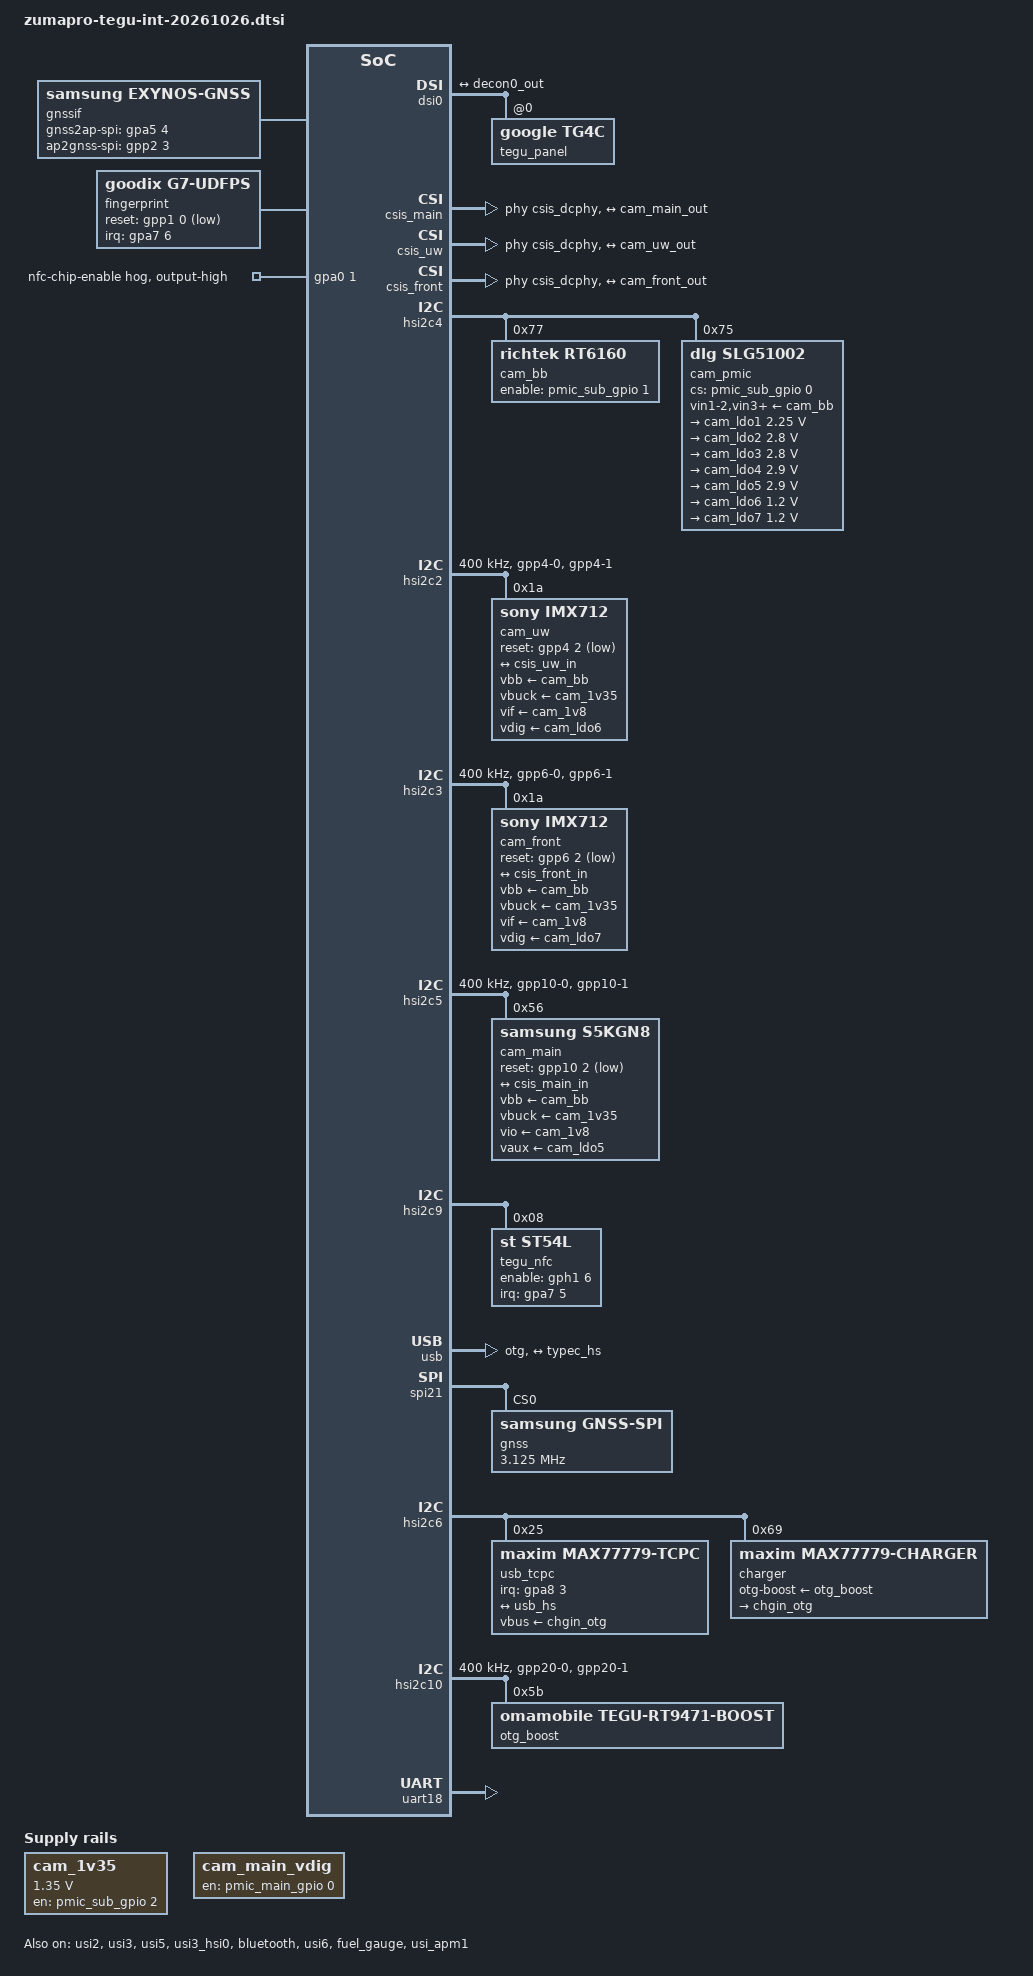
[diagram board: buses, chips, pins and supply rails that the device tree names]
// SPDX-License-Identifier: GPL-2.0-only
/*
 * Pixel 9a: what the runtime overlays of 2026-10-26 proved, as base
 * device tree (docs/HANDOFF.md, device/tegu/NOTES.md):
 *  - the alive EINT banks gpa7 and gpa8 with their per-pin GIC SPIs (from
 *    stock; the NFC interrupt is gpa7-5, the IF-PMIC's on gpa8);
 *  - cpufreq-dt on the ACPM DVFS clocks (tegu-acpm-clk binds the
 *    zumapro-acpm-clk device; cell = DVFS domain) with the firmware's
 *    fvmap levels, mid and big clusters capped (the X4 at 3105 MHz reached
 *    105 C in 4 s under an eight-core load), CPU capacities from stock;
 *  - the CPU and GPU thermal zones on the ACPM TMU (tegu-acpm-thermal);
 *  - DSIM0 for gs-dsim-cmd with the hand-over panel (backlight only);
 *  - the ST NFC controller on hsi2c9 for st-nci;
 *  - the HSI2 pinctrl block (gph3: PCIe1's PERST and WLAN_EN; stock has it
 *    enabled), which cannot be enabled at runtime: the Samsung pinctrl
 *    driver's per-SoC tables are __initconst and a late probe oopsed.
 * Not here: cpuidle states (a separate, riskier gate), the GPU's own OPP
 * table, panel sleep.
 */

#include <dt-bindings/usb/pd.h>
#include <dt-bindings/media/video-interfaces.h>

&gpa7 {
	interrupt-controller;
	#interrupt-cells = <2>;
	interrupts = <GIC_SPI 36 IRQ_TYPE_LEVEL_HIGH>,
		     <GIC_SPI 37 IRQ_TYPE_LEVEL_HIGH>,
		     <GIC_SPI 38 IRQ_TYPE_LEVEL_HIGH>,
		     <GIC_SPI 39 IRQ_TYPE_LEVEL_HIGH>,
		     <GIC_SPI 40 IRQ_TYPE_LEVEL_HIGH>,
		     <GIC_SPI 41 IRQ_TYPE_LEVEL_HIGH>,
		     <GIC_SPI 42 IRQ_TYPE_LEVEL_HIGH>,
		     <GIC_SPI 43 IRQ_TYPE_LEVEL_HIGH>;
};

&gpa8 {
	interrupt-controller;
	#interrupt-cells = <2>;
	interrupts = <GIC_SPI 44 IRQ_TYPE_LEVEL_HIGH>,
		     <GIC_SPI 45 IRQ_TYPE_LEVEL_HIGH>,
		     <GIC_SPI 46 IRQ_TYPE_LEVEL_HIGH>,
		     <GIC_SPI 47 IRQ_TYPE_LEVEL_HIGH>;
};

/ {

	cpucl0_opp: opp-table-cpucl0 {
		compatible = "operating-points-v2";
		opp-shared;

		opp-324000000 {
			opp-hz = /bits/ 64 <324000000>;
		};

		opp-610000000 {
			opp-hz = /bits/ 64 <610000000>;
		};

		opp-820000000 {
			opp-hz = /bits/ 64 <820000000>;
		};

		opp-955000000 {
			opp-hz = /bits/ 64 <955000000>;
		};

		opp-1098000000 {
			opp-hz = /bits/ 64 <1098000000>;
		};

		opp-1197000000 {
			opp-hz = /bits/ 64 <1197000000>;
		};

		opp-1328000000 {
			opp-hz = /bits/ 64 <1328000000>;
		};

		opp-1425000000 {
			opp-hz = /bits/ 64 <1425000000>;
		};

		opp-1548000000 {
			opp-hz = /bits/ 64 <1548000000>;
		};

		opp-1696000000 {
			opp-hz = /bits/ 64 <1696000000>;
		};

		opp-1849000000 {
			opp-hz = /bits/ 64 <1849000000>;
		};

		opp-1950000000 {
			opp-hz = /bits/ 64 <1950000000>;
		};

		opp-1951000000 {
			opp-hz = /bits/ 64 <1951000000>;
		};

		opp-1952000000 {
			opp-hz = /bits/ 64 <1952000000>;
		};

		opp-1953000000 {
			opp-hz = /bits/ 64 <1953000000>;
		};

		opp-1954000000 {
			opp-hz = /bits/ 64 <1954000000>;
		};
	};

	cpucl1_opp: opp-table-cpucl1 {
		compatible = "operating-points-v2";
		opp-shared;

		opp-357000000 {
			opp-hz = /bits/ 64 <357000000>;
		};

		opp-578000000 {
			opp-hz = /bits/ 64 <578000000>;
		};

		opp-648000000 {
			opp-hz = /bits/ 64 <648000000>;
		};

		opp-787000000 {
			opp-hz = /bits/ 64 <787000000>;
		};

		opp-910000000 {
			opp-hz = /bits/ 64 <910000000>;
		};

		opp-1065000000 {
			opp-hz = /bits/ 64 <1065000000>;
		};

		opp-1221000000 {
			opp-hz = /bits/ 64 <1221000000>;
		};

		opp-1328000000 {
			opp-hz = /bits/ 64 <1328000000>;
		};

		opp-1418000000 {
			opp-hz = /bits/ 64 <1418000000>;
		};

		opp-1549000000 {
			opp-hz = /bits/ 64 <1549000000>;
		};

		opp-1795000000 {
			opp-hz = /bits/ 64 <1795000000>;
		};

		opp-1945000000 {
			opp-hz = /bits/ 64 <1945000000>;
		};

		opp-2130000000 {
			opp-hz = /bits/ 64 <2130000000>;
		};

		opp-2245000000 {
			opp-hz = /bits/ 64 <2245000000>;
		};

		opp-2367000000 {
			opp-hz = /bits/ 64 <2367000000>;
		};
		/* opp-2450000000: above the thermal-headroom cap */
		/* opp-2600000000: above the thermal-headroom cap */
	};

	cpucl2_opp: opp-table-cpucl2 {
		compatible = "operating-points-v2";
		opp-shared;

		opp-700000000 {
			opp-hz = /bits/ 64 <700000000>;
		};

		opp-1164000000 {
			opp-hz = /bits/ 64 <1164000000>;
		};

		opp-1396000000 {
			opp-hz = /bits/ 64 <1396000000>;
		};

		opp-1557000000 {
			opp-hz = /bits/ 64 <1557000000>;
		};

		opp-1745000000 {
			opp-hz = /bits/ 64 <1745000000>;
		};

		opp-1885000000 {
			opp-hz = /bits/ 64 <1885000000>;
		};

		opp-1999000000 {
			opp-hz = /bits/ 64 <1999000000>;
		};

		opp-2147000000 {
			opp-hz = /bits/ 64 <2147000000>;
		};

		opp-2294000000 {
			opp-hz = /bits/ 64 <2294000000>;
		};

		opp-2363000000 {
			opp-hz = /bits/ 64 <2363000000>;
		};

		opp-2499000000 {
			opp-hz = /bits/ 64 <2499000000>;
		};

		opp-2687000000 {
			opp-hz = /bits/ 64 <2687000000>;
		};
		/* opp-2802000000: above the thermal-headroom cap */
		/* opp-2914000000: above the thermal-headroom cap */
		/* opp-2943000000: above the thermal-headroom cap */
		/* opp-2970000000: above the thermal-headroom cap */
		/* opp-3015000000: above the thermal-headroom cap */
		/* opp-3105000000: above the thermal-headroom cap */
	};

	thermal-zones {
		big-thermal {
			polling-delay-passive = <250>;
			polling-delay = <1000>;
			thermal-sensors = <&tegu_tmu 0>;

			trips {
				big_alert: big-alert {
					temperature = <80000>;
					hysteresis = <5000>;
					type = "passive";
				};

				big_hot: big-hot {
					temperature = <95000>;
					hysteresis = <10000>;
					type = "passive";
				};

				big_crit: big-crit {
					temperature = <105000>;
					hysteresis = <2000>;
					type = "critical";
				};
			};

			cooling-maps {
				map0 {
					trip = <&big_alert>;
					cooling-device = <&cpu7 0xffffffff 0xffffffff>;
				};

				map1 {
					trip = <&big_hot>;
					cooling-device = <&cpu7 11 0xffffffff>;
				};
			};
		};

		mid-thermal {
			polling-delay-passive = <250>;
			polling-delay = <1000>;
			thermal-sensors = <&tegu_tmu 1>;

			trips {
				mid_alert: mid-alert {
					temperature = <80000>;
					hysteresis = <5000>;
					type = "passive";
				};

				mid_hot: mid-hot {
					temperature = <95000>;
					hysteresis = <10000>;
					type = "passive";
				};

				mid_crit: mid-crit {
					temperature = <105000>;
					hysteresis = <2000>;
					type = "critical";
				};
			};

			cooling-maps {
				map0 {
					trip = <&mid_alert>;
					cooling-device = <&cpu4 0xffffffff 0xffffffff>;
				};

				map1 {
					trip = <&mid_hot>;
					cooling-device = <&cpu4 14 0xffffffff>;
				};
			};
		};

		little-thermal {
			polling-delay-passive = <250>;
			polling-delay = <1000>;
			thermal-sensors = <&tegu_tmu 2>;

			trips {
				little_alert: little-alert {
					temperature = <80000>;
					hysteresis = <5000>;
					type = "passive";
				};

				little_hot: little-hot {
					temperature = <95000>;
					hysteresis = <10000>;
					type = "passive";
				};

				little_crit: little-crit {
					temperature = <105000>;
					hysteresis = <2000>;
					type = "critical";
				};
			};

			cooling-maps {
				map0 {
					trip = <&little_alert>;
					cooling-device = <&cpu0 0xffffffff 0xffffffff>;
				};

				map1 {
					trip = <&little_hot>;
					cooling-device = <&cpu0 15 0xffffffff>;
				};
			};
		};
		gpu-thermal {
			polling-delay-passive = <1000>;
			polling-delay = <2000>;
			thermal-sensors = <&tegu_tmu 3>;

			trips {
				gpu_alert: gpu-alert {
					temperature = <85000>;
					hysteresis = <5000>;
					type = "passive";
				};

				gpu_crit: gpu-crit {
					temperature = <105000>;
					hysteresis = <2000>;
					type = "critical";
				};
			};

			/*
			 * panthor's devfreq cooling device: step_wise walks the
			 * GPU down its OPPs above 85 C, so the levels above
			 * 649 MHz (tegu-gpu-dvfs.dtso) have a throttle.
			 */
			cooling-maps {
				map0 {
					trip = <&gpu_alert>;
					cooling-device = <&gpu 0xffffffff 0xffffffff>;
				};
			};
		};
	};
};

&cpu0 {
	capacity-dmips-mhz = <193>;
	dynamic-power-coefficient = <70>;
	#cooling-cells = <2>;
	clocks = <&acpm_ipc 2>;
	operating-points-v2 = <&cpucl0_opp>;
};

&cpu1 {
	capacity-dmips-mhz = <193>;
	dynamic-power-coefficient = <70>;
	#cooling-cells = <2>;
	clocks = <&acpm_ipc 2>;
	operating-points-v2 = <&cpucl0_opp>;
};

&cpu2 {
	capacity-dmips-mhz = <193>;
	dynamic-power-coefficient = <70>;
	#cooling-cells = <2>;
	clocks = <&acpm_ipc 2>;
	operating-points-v2 = <&cpucl0_opp>;
};

&cpu3 {
	capacity-dmips-mhz = <193>;
	dynamic-power-coefficient = <70>;
	#cooling-cells = <2>;
	clocks = <&acpm_ipc 2>;
	operating-points-v2 = <&cpucl0_opp>;
};

&cpu4 {
	capacity-dmips-mhz = <927>;
	dynamic-power-coefficient = <513>;
	#cooling-cells = <2>;
	clocks = <&acpm_ipc 3>;
	operating-points-v2 = <&cpucl1_opp>;
};

&cpu5 {
	capacity-dmips-mhz = <927>;
	dynamic-power-coefficient = <513>;
	#cooling-cells = <2>;
	clocks = <&acpm_ipc 3>;
	operating-points-v2 = <&cpucl1_opp>;
};

&cpu6 {
	capacity-dmips-mhz = <927>;
	dynamic-power-coefficient = <513>;
	#cooling-cells = <2>;
	clocks = <&acpm_ipc 3>;
	operating-points-v2 = <&cpucl1_opp>;
};

&cpu7 {
	capacity-dmips-mhz = <1024>;
	dynamic-power-coefficient = <757>;
	#cooling-cells = <2>;
	clocks = <&acpm_ipc 4>;
	operating-points-v2 = <&cpucl2_opp>;
};

&soc {
	dsi0: dsi@19440000 {
		compatible = "google,gs201-dsim";
		reg = <0x0 0x19440000 0x300>,
		      <0x0 0x19460100 0x700>,
		      <0x0 0x19460000 0x100>;
		reg-names = "dsi", "dphy", "dphy-extra";
		/* stock drmdsim@19440000: GIC SPI 252; gs-dsim-cmd does not use it */
		interrupts = <GIC_SPI 252 IRQ_TYPE_LEVEL_HIGH>;
		#address-cells = <1>;
		#size-cells = <0>;
		status = "okay";

		tegu_panel: panel@0 {
			compatible = "google,tg4c";
			reg = <0>;
		};

		port {
			dsi0_in: endpoint {
				remote-endpoint = <&decon0_out>;
			};
		};
	};
};

/*
 * DECON's output is DSIM0, so gs-decon can switch the link and the panel
 * between 60 and 120 Hz. No MIF/DISP floor clocks: the ACPM clock driver
 * loads late, and the bootloader leaves MIF (2028 MHz) and DISP (400 MHz)
 * above the 120 Hz floors.
 */
&decon0 {
	port {
		decon0_out: endpoint {
			remote-endpoint = <&dsi0_in>;
		};
	};
};

/*
 * The sub PMIC's ten GPIOs (ACPM access type 0x0c). Pins 0 and 1 are the
 * camera PMIC's chip select and the camera buck-boost's enable in stock's
 * board overlay (slg51002 dlg,cs-gpios, rt6160 enable-gpios); nothing claims
 * them yet, so the block only reports their state.
 */
&pmic_sub {
	pmic_sub_gpio: gpio {
		compatible = "samsung,s2mpg15-gpio";
		gpio-controller;
		#gpio-cells = <2>;
	};
};

/*
 * Camera power, CAM0 (survey: device/tegu/CAMERA-PLAN.md): stock's RT6160
 * buck-boost (PP3200_CAM_BB, enable on the sub PMIC's GPIO 1) feeds the
 * SLG51002 camera PMIC (chip select on its GPIO 0), whose eight LDOs feed the
 * sensors. Voltages as stock's board overlay. No consumers and no
 * always-on: the drivers probe and read their IDs, and every LDO stays off.
 */
&hsi2c4 {
	cam_bb: regulator@77 {
		compatible = "richtek,rt6160";
		reg = <0x77>;
		enable-gpios = <&pmic_sub_gpio 1 GPIO_ACTIVE_HIGH>;
		regulator-name = "pp3200-cam-bb";
		regulator-min-microvolt = <3200000>;
		regulator-max-microvolt = <3200000>;
		regulator-enable-ramp-delay = <2000>;
	};

	cam_pmic: pmic@75 {
		compatible = "dlg,slg51002";
		reg = <0x75>;
		dlg,cs-gpios = <&pmic_sub_gpio 0 GPIO_ACTIVE_HIGH>;
		vin1-2-supply = <&cam_bb>;
		vin3-supply = <&cam_bb>;
		vin4-supply = <&cam_bb>;
		vin5-supply = <&cam_bb>;

		regulators {
			cam_ldo1: ldo1 {
				regulator-name = "cam-ldo1";
				regulator-min-microvolt = <2250000>;
				regulator-max-microvolt = <2250000>;
			};
			cam_ldo2: ldo2 {
				regulator-name = "cam-ldo2";
				regulator-min-microvolt = <2800000>;
				regulator-max-microvolt = <2800000>;
			};
			cam_ldo3: ldo3 {
				regulator-name = "cam-ldo3";
				regulator-min-microvolt = <2800000>;
				regulator-max-microvolt = <2800000>;
			};
			cam_ldo4: ldo4 {
				regulator-name = "cam-ldo4";
				regulator-min-microvolt = <2900000>;
				regulator-max-microvolt = <2900000>;
			};
			cam_ldo5: ldo5 {
				regulator-name = "cam-ldo5";
				regulator-min-microvolt = <2900000>;
				regulator-max-microvolt = <2900000>;
			};
			cam_ldo6: ldo6 {
				regulator-name = "cam-ldo6";
				regulator-min-microvolt = <1200000>;
				regulator-max-microvolt = <1200000>;
			};
			cam_ldo7: ldo7 {
				regulator-name = "cam-ldo7";
				regulator-min-microvolt = <1200000>;
				regulator-max-microvolt = <1200000>;
			};
		};
	};
};

/*
 * Camera, CAM1 prerequisites: the ultrawide's I2C (hsi2c_2 on USI2, pins
 * gpp4-0/1 as stock), the sensors' shared 1.8 V (sub PMIC LDO12) and the
 * 1.35 V camera rail (a fixed regulator on the sub PMIC's GPIO 2, as stock's
 * PP1350_CAM). No consumers: everything stays off until a sensor is powered.
 */
&pinctrl_peric0 {
	hsi2c2_bus: hsi2c2-bus-pins {
		samsung,pins = "gpp4-0", "gpp4-1";
		samsung,pin-function = <EXYNOS_PIN_FUNC_3>;
		samsung,pin-pud = <EXYNOS_PIN_PULL_NONE>;
		samsung,pin-drv = <0>;
	};
};

&usi2 {
	status = "okay";
};

&hsi2c2 {
	pinctrl-names = "default";
	pinctrl-0 = <&hsi2c2_bus>;
	clock-frequency = <400000>;
	status = "okay";
};

&pmic_sub {
	regulators {
		cam_1v8: ldo12s {
			regulator-name = "cam-1v8";
		};
	};
};

/ {
	cam_1v35: regulator-cam-1v35 {
		compatible = "regulator-fixed";
		regulator-name = "pp1350-cam";
		regulator-min-microvolt = <1350000>;
		regulator-max-microvolt = <1350000>;
		gpio = <&pmic_sub_gpio 2 GPIO_ACTIVE_HIGH>;
		enable-active-high;
		startup-delay-us = <2000>;
	};
};

/*
 * CAM1 (passed: model ID 0x0712, an IMX712): the ultrawide sensor (stock
 * sensor-leshen-uw, 0x1a on hsi2c_2) in stock's LWIS order: pp3200_bb,
 * pp1350, s2mpg15_ldo12, ldo3, ldo6, reset, mclk_on.
 * Master clock: CMU_TOP CIS_CLK0 from OSCCLK (24.576 MHz; stock asks
 * 24 MHz), out on gpp3-0 (stock's sensor-mclk1).
 */
&pinctrl_peric0 {
	cam_mclk_on: cam-mclk-on-pins {
		samsung,pins = "gpp3-0";
		samsung,pin-function = <EXYNOS_PIN_FUNC_2>;
		samsung,pin-pud = <EXYNOS_PIN_PULL_NONE>;
		samsung,pin-drv = <1>;
	};

	cam_mclk_off: cam-mclk-off-pins {
		samsung,pins = "gpp3-0";
		samsung,pin-function = <EXYNOS_PIN_FUNC_OUTPUT>;
		samsung,pin-pud = <EXYNOS_PIN_PULL_DOWN>;
		samsung,pin-drv = <1>;
	};
};

/* The ultrawide, a Sony IMX712, on the imx386 driver (CAM2a). No receiver yet: the endpoint has no remote. */
&hsi2c2 {
	cam_uw: camera@1a {
		compatible = "sony,imx712";
		reg = <0x1a>;
		clocks = <&cmu_top CLK_DOUT_CIS_CLK0>;
		assigned-clocks = <&cmu_top CLK_MOUT_CIS_CLK0>, <&cmu_top CLK_DOUT_CIS_CLK0>;
		assigned-clock-parents = <&oscclk>, <0>;
		assigned-clock-rates = <0>, <24576000>;
		pinctrl-names = "default";
		pinctrl-0 = <&cam_mclk_on>;
		/* high runs the sensor (stock's LWIS "reset" step sets 1) */
		reset-gpios = <&gpp4 2 GPIO_ACTIVE_LOW>;
		/* stock's order: PP3200_BB, PP1350, S2MPG15 LDO12, LDO3, LDO6 */
		vbb-supply = <&cam_bb>;
		vbuck-supply = <&cam_1v35>;
		vif-supply = <&cam_1v8>;
		vdig-supply = <&cam_ldo6>;
		vana-supply = <&cam_ldo3>;
		firmware-name = "omamobile/camera/imx712-uw.bin";
		orientation = <1>;	/* back */
		status = "okay";

		port {
			cam_uw_out: endpoint {
				data-lanes = <1 2 3 4>;
				link-frequencies = /bits/ 64 <552960000 479232000>;
			};
		};
	};
};

/*
 * CAM-F: the front camera (stock sensor-leshen, 0x1a on hsi2c_3, pins gpp6-0/1)
 * powered once by the ID probe in stock's order: pp3200_bb, pp1350,
 * s2mpg15_ldo12, ldo2, ldo7, reset (gpp6-2), mclk_on. Master clock: CMU_TOP
 * CIS_CLK1 from OSCCLK, out on gpp5-0 (sensor-mclk2). Pins, pulls and the
 * reset line as Google's GPL zuma-tegu-camera.dtsi and zumapro-pinctrl.dtsi:
 * this bus has no external pull-ups, stock turns the internal ones on.
 */
&pinctrl_peric0 {
	hsi2c3_bus: hsi2c3-bus-pins {
		samsung,pins = "gpp6-0", "gpp6-1";
		samsung,pin-function = <EXYNOS_PIN_FUNC_3>;
		samsung,pin-pud = <EXYNOS_PIN_PULL_UP>;
		samsung,pin-drv = <0>;
	};

	cam_front_mclk_on: cam-front-mclk-on-pins {
		samsung,pins = "gpp5-0";
		samsung,pin-function = <EXYNOS_PIN_FUNC_2>;
		samsung,pin-pud = <EXYNOS_PIN_PULL_NONE>;
		samsung,pin-drv = <1>;
	};

	cam_front_mclk_off: cam-front-mclk-off-pins {
		samsung,pins = "gpp5-0";
		samsung,pin-function = <EXYNOS_PIN_FUNC_OUTPUT>;
		samsung,pin-pud = <EXYNOS_PIN_PULL_DOWN>;
		samsung,pin-drv = <1>;
	};
};

&usi3 {
	status = "okay";
};

&hsi2c3 {
	pinctrl-names = "default";
	pinctrl-0 = <&hsi2c3_bus>;
	clock-frequency = <400000>;
	status = "okay";
};

/* The front camera, a second Sony IMX712 (CAM-F: model 0x0712), on the imx386 driver. */
&hsi2c3 {
	cam_front: camera@1a {
		compatible = "sony,imx712";
		reg = <0x1a>;
		clocks = <&cmu_top CLK_DOUT_CIS_CLK1>;
		assigned-clocks = <&cmu_top CLK_MOUT_CIS_CLK1>, <&cmu_top CLK_DOUT_CIS_CLK1>;
		assigned-clock-parents = <&oscclk>, <0>;
		assigned-clock-rates = <0>, <24576000>;
		pinctrl-names = "default";
		pinctrl-0 = <&cam_front_mclk_on>;
		/* high runs the sensor (stock's LWIS "reset" step sets 1) */
		reset-gpios = <&gpp6 2 GPIO_ACTIVE_LOW>;
		/* stock's order: PP3200_BB, PP1350, S2MPG15 LDO12, LDO2, LDO7 */
		vbb-supply = <&cam_bb>;
		vbuck-supply = <&cam_1v35>;
		vif-supply = <&cam_1v8>;
		vdig-supply = <&cam_ldo7>;
		vana-supply = <&cam_ldo2>;
		/* the HAL has one IMX712 driver, so the ultrawide's mode list serves */
		firmware-name = "omamobile/camera/imx712-uw.bin";
		orientation = <0>;	/* front */
		status = "okay";

		port {
			cam_front_out: endpoint {
				remote-endpoint = <&csis_front_in>;
				data-lanes = <1 2 3 4>;
				link-frequencies = /bits/ 64 <552960000 479232000>;
			};
		};
	};
};

/*
 * CAM-M: the main camera (stock sensor-barghest, 0x56 on hsi2c_5, pins
 * gpp10-0/1) powered once by the ID probe in stock's order: pp3200_bb,
 * pp1350, s2mpg15_ldo12, ldo5, ldo4, ldo1, vdig_enable (main PMIC GPIO 0),
 * reset (gpp10-2), mclk_on. Master clock: CMU_TOP CIS_CLK3 (stock asks
 * 26 MHz; OSCCLK gives 24.576 MHz, enough to answer on I2C), out on gpp9-0
 * (sensor-mclk4). Bus pins pulled up internally, as stock.
 */
&pmic_main {
	pmic_main_gpio: gpio {
		compatible = "samsung,s2mpg14-gpio";
		gpio-controller;
		#gpio-cells = <2>;
	};
};

&pinctrl_peric0 {
	hsi2c5_bus: hsi2c5-bus-pins {
		samsung,pins = "gpp10-0", "gpp10-1";
		samsung,pin-function = <EXYNOS_PIN_FUNC_3>;
		samsung,pin-pud = <EXYNOS_PIN_PULL_UP>;
		samsung,pin-drv = <0>;
	};

	cam_main_mclk_on: cam-main-mclk-on-pins {
		samsung,pins = "gpp9-0";
		samsung,pin-function = <EXYNOS_PIN_FUNC_2>;
		samsung,pin-pud = <EXYNOS_PIN_PULL_NONE>;
		samsung,pin-drv = <1>;
	};

	cam_main_mclk_off: cam-main-mclk-off-pins {
		samsung,pins = "gpp9-0";
		samsung,pin-function = <EXYNOS_PIN_FUNC_OUTPUT>;
		samsung,pin-pud = <EXYNOS_PIN_PULL_DOWN>;
		samsung,pin-drv = <1>;
	};
};

&usi5 {
	status = "okay";
};

&hsi2c5 {
	pinctrl-names = "default";
	pinctrl-0 = <&hsi2c5_bus>;
	clock-frequency = <400000>;
	status = "okay";
};

/ {
	/* the main camera's digital supply: a switch on the main PMIC's GPIO 0 */
	cam_main_vdig: regulator-cam-main-vdig {
		compatible = "regulator-fixed";
		regulator-name = "cam-main-vdig";
		gpio = <&pmic_main_gpio 0 GPIO_ACTIVE_HIGH>;
		enable-active-high;
	};
};

/*
 * The main camera, a Samsung GN8 (model 0x08e8), on the s5kgn1 driver: three
 * C-PHY trios into CSIS link 0.
 */
&hsi2c5 {
	cam_main: camera@56 {
		compatible = "samsung,s5kgn8";
		reg = <0x56>;
		clocks = <&cmu_top CLK_DOUT_CIS_CLK3>;
		assigned-clocks = <&cmu_top CLK_MOUT_CIS_CLK3>, <&cmu_top CLK_DOUT_CIS_CLK3>;
		assigned-clock-parents = <&oscclk>, <0>;
		assigned-clock-rates = <0>, <24576000>;
		pinctrl-names = "default";
		pinctrl-0 = <&cam_main_mclk_on>;
		reset-gpios = <&gpp10 2 GPIO_ACTIVE_LOW>;
		/* stock's order: PP3200_BB, PP1350, S2MPG15 LDO12, LDO5, LDO4, LDO1, VDIG */
		vbb-supply = <&cam_bb>;
		vbuck-supply = <&cam_1v35>;
		vio-supply = <&cam_1v8>;
		vaux-supply = <&cam_ldo5>;
		vaux2-supply = <&cam_ldo4>;
		vana-supply = <&cam_ldo1>;
		vdig-supply = <&cam_main_vdig>;
		firmware-name = "omamobile/camera/s5kgn8-main.bin";
		/*
		 * Its lines burst at over 2 GB/s on three trios; the ultrawide's
		 * 550 MB/s lines land cleanly (cheetah's receiver lost lines above
		 * about 400 MB/s, CAMERA-PLAN CAM-M.5l there).
		 */
		samsung,max-line-throughput = <500>;
		orientation = <1>;	/* back */
		status = "okay";

		port {
			cam_main_out: endpoint {
				remote-endpoint = <&csis_main_in>;
				bus-type = <MEDIA_BUS_TYPE_CSI2_CPHY>;
				data-lanes = <1 2 3>;
				link-frequencies = /bits/ 64 <1370112000>;
			};
		};
	};
};

/* The main camera's receiver: link 0, three C-PHY trios on slave 0, SPI 467 (ctx0). */
&soc {
	csis_main: csis@1c040000 {
		compatible = "google,zumapro-csis";
		reg = <0x0 0x1c040000 0x1000>, <0x0 0x1c320000 0x2000>;
		reg-names = "link", "core";
		interrupts = <GIC_SPI 467 IRQ_TYPE_LEVEL_HIGH>,
			     <GIC_SPI 479 IRQ_TYPE_LEVEL_HIGH>;
		interrupt-names = "link", "core";
		phys = <&csis_dcphy 0>;
		google,csis-link = <0>;
		/* INT DVFS (ACPM domain 1), the ISP-FE NOC clock's rail, then the clock */
		clocks = <&acpm_ipc 1>, <&cmu_top CLK_DOUT_ISPFE_NOC>;
		clock-names = "int", "fe";
		/* without them the link decodes frame starts and nothing else */
		google,lrte-packet-delimiters;

		port {
			csis_main_in: endpoint {
				remote-endpoint = <&cam_main_out>;
				bus-type = <MEDIA_BUS_TYPE_CSI2_CPHY>;
				data-lanes = <1 2 3>;
			};
		};
	};
};

/*
 * CAM2b: the camera receiver for the ultrawide, link-only (no DMA yet).
 * ISP-FE block (power domain on from ABL, CMU_ISPFE gates on): the DC-PHY
 * slaves at 0x1c100000 (bias +0x1000), their reset bits at isp-fe-sysreg
 * +0x500 (bit n for slave n), PMU isolation 0x3ebc as gs201. The ultrawide
 * is link 1 (four D-PHY lanes on slave 1; the camera HAL's module table),
 * its link registers at 0x1c050000 and interrupt SPI 468 (ctx1). Frames
 * reach memory through the CSIS core (isp-fe +0x20000, SPI 479), image
 * LoCH 0 (CAMERA-RX-RESEARCH.md 2c).
 * gs201_csis and phy_gs201_mipi_dcphy are blacklisted at boot; the
 * bring-up test loads them by hand.
 */
&soc {
	ispfe_sysreg: syscon@1c020000 {
		compatible = "google,zumapro-ispfe-sysreg", "syscon";
		reg = <0x0 0x1c020000 0x10000>;
	};

	csis_dcphy: phy@1c100000 {
		compatible = "google,zumapro-mipi-dcphy-rx";
		reg = <0x0 0x1c100000 0x4000>;
		#phy-cells = <1>;
		samsung,pmu-syscon = <&pmu_system_controller 0x3ebc>;
		google,reset-sysreg = <&ispfe_sysreg 0x500>;
		firmware-name = "omamobile/camera/zumapro-dcphy.bin";
	};

	csis_uw: csis@1c050000 {
		compatible = "google,zumapro-csis";
		reg = <0x0 0x1c050000 0x1000>, <0x0 0x1c320000 0x2000>;
		reg-names = "link", "core";
		interrupts = <GIC_SPI 468 IRQ_TYPE_LEVEL_HIGH>,
			     <GIC_SPI 479 IRQ_TYPE_LEVEL_HIGH>;
		interrupt-names = "link", "core";
		phys = <&csis_dcphy 1>;
		google,csis-link = <1>;
		/* INT DVFS (ACPM domain 1), the ISP-FE NOC clock's rail, then the clock */
		clocks = <&acpm_ipc 1>, <&cmu_top CLK_DOUT_ISPFE_NOC>;
		clock-names = "int", "fe";

		port {
			csis_uw_in: endpoint {
				remote-endpoint = <&cam_uw_out>;
				data-lanes = <1 2 3 4>;
			};
		};
	};
};

&cam_uw_out {
	remote-endpoint = <&csis_uw_in>;
};

/*
 * The front camera's receiver: link 6 (four D-PHY lanes on slave 5 with
 * slave 6's clock lane), link registers at 0x1c0a0000, SPI 473 (ctx6).
 */
&soc {
	csis_front: csis@1c0a0000 {
		compatible = "google,zumapro-csis";
		reg = <0x0 0x1c0a0000 0x1000>, <0x0 0x1c320000 0x2000>;
		reg-names = "link", "core";
		interrupts = <GIC_SPI 473 IRQ_TYPE_LEVEL_HIGH>,
			     <GIC_SPI 479 IRQ_TYPE_LEVEL_HIGH>;
		interrupt-names = "link", "core";
		phys = <&csis_dcphy 6>;
		google,csis-link = <6>;
		/* INT DVFS (ACPM domain 1), the ISP-FE NOC clock's rail, then the clock */
		clocks = <&acpm_ipc 1>, <&cmu_top CLK_DOUT_ISPFE_NOC>;
		clock-names = "int", "fe";

		port {
			csis_front_in: endpoint {
				remote-endpoint = <&cam_front_out>;
				data-lanes = <1 2 3 4>;
			};
		};
	};
};

/*
 * CPU idle: the per-core C2 state, stock's parameters (overlays/tegu-cpuidle-c2.dtso).
 * TF-A accepts it once PMU_INFORM0 allows C2 (exynos-pmu writes it at probe on zuma).
 */
&{/cpus} {
	idle-states {
		entry-method = "psci";

		tegu_a520_cpu_sleep: cpu-a520-sleep {
			idle-state-name = "c2";
			compatible = "arm,idle-state";
			arm,psci-suspend-param = <0x0010000>;
			local-timer-stop;
			entry-latency-us = <70>;
			exit-latency-us = <160>;
			min-residency-us = <2000>;
		};

		tegu_a720_cpu_sleep: cpu-a720-sleep {
			idle-state-name = "c2";
			compatible = "arm,idle-state";
			arm,psci-suspend-param = <0x0010000>;
			local-timer-stop;
			entry-latency-us = <150>;
			exit-latency-us = <190>;
			min-residency-us = <2500>;
		};

		tegu_x4_cpu_sleep: cpu-x4-sleep {
			idle-state-name = "c2";
			compatible = "arm,idle-state";
			arm,psci-suspend-param = <0x0010000>;
			local-timer-stop;
			entry-latency-us = <235>;
			exit-latency-us = <220>;
			min-residency-us = <3500>;
		};
	};
};

&cpu0 { cpu-idle-states = <&tegu_a520_cpu_sleep>; };
&cpu1 { cpu-idle-states = <&tegu_a520_cpu_sleep>; };
&cpu2 { cpu-idle-states = <&tegu_a520_cpu_sleep>; };
&cpu3 { cpu-idle-states = <&tegu_a520_cpu_sleep>; };
&cpu4 { cpu-idle-states = <&tegu_a720_cpu_sleep>; };
&cpu5 { cpu-idle-states = <&tegu_a720_cpu_sleep>; };
&cpu6 { cpu-idle-states = <&tegu_a720_cpu_sleep>; };
&cpu7 { cpu-idle-states = <&tegu_x4_cpu_sleep>; };

/*
 * The 9a's NFC controller is an ST54L (NFC and eSE in one chip): its chip
 * enable, gpa0-1, powers the whole chip. Stock's st54spi eSE driver raises
 * it at probe (Google's zuma-tegu-ese.dtsi, ese_chip_enable-gpio); st-nci
 * knows nothing of it, so a hog holds it high. With it high the chip ACKs
 * at 0x08 and answers CORE_RESET (2026-10-26, logs/tegu-nfc-20261026/).
 */
&gpa0 {
	nfc-chip-enable-hog {
		gpio-hog;
		gpios = <1 GPIO_ACTIVE_HIGH>;
		output-high;
		line-name = "nfc-chip-enable";
	};
};

&hsi2c9 {
	/*
	 * The ST54L speaks plain NCI over I2C (a 3-byte header, then the
	 * payload; CORE_RESET answered 60 00 ... with the chip enabled), not
	 * the NDLC framing of st-nci's ST21NFCB, whose init timed out. The
	 * kernel's generic plain-NCI I2C transport is nxp-nci's; its "enable"
	 * line is the ST chip's RST_N (high = run), and the interrupt is
	 * level-high, held while a frame is pending.
	 */
	tegu_nfc: nfc@8 {
		compatible = "st,st54l", "nxp,nxp-nci-i2c";
		reg = <0x08>;
		clocks = <&pmu_system_controller 0>;
		interrupt-parent = <&gpa7>;
		interrupts = <5 IRQ_TYPE_LEVEL_HIGH>;
		enable-gpios = <&gph1 6 GPIO_ACTIVE_HIGH>;
		status = "okay";
	};
};

&pinctrl_hsi2 {
	status = "okay";
};

/*
 * The main PMIC's interrupt: GIC SPI 74 (stock's s2mpg14mfd@0), latched by
 * the VGPIO2AP block at 0x15090000 (Google's st21nfc.c SYSREG_VGPIO2AP,
 * INTC0_IPEND 0x290), which the sec-irq driver acknowledges. Gives the RTC
 * its alarm, the first wake source for suspend.
 */
&soc {
	sysreg_vgpio2ap: syscon@15090000 {
		compatible = "google,zumapro-vgpio2ap-sysreg", "syscon";
		reg = <0x0 0x15090000 0x1000>;
	};
};

&pmic_main {
	interrupts = <GIC_SPI 74 IRQ_TYPE_LEVEL_HIGH>;
	google,vgpio2ap-sysreg = <&sysreg_vgpio2ap>;
	wakeup-source;
};

/*
 * The Wi-Fi chip's DMA goes through a restricted pool (bounce buffers in
 * this 16 MiB region, as cheetah's W4), because the HSI2 SysMMU and S2MPU
 * put PCIe and UFS on one VID and must not enforce on it. The endpoint's
 * memory-region in the PCIe1 overlay points here. Reserved-memory on this
 * SoC: two address cells, one size cell (12-byte entries), two-cell alignment.
 */
&{/reserved-memory} {
	wifi_dma_pool: wifi-dma-pool {
		compatible = "restricted-dma-pool";
		size = <0x01000000>;
		alignment = <0x0 0x00200000>;
		alloc-ranges = <0x0 0x80000000 0x80000000>;
	};
};

/*
 * Suspend: the DesignWare core touches its link registers (dwc3_phy_setup)
 * before it initialises the PHY, and after a suspend the PHY driver has
 * turned CLK_GOUT_HSI0_USB_SUBCTL off (the zuma PHY's "phy" clock, which
 * also clocks the sub-control/link register path), so the first register
 * access on resume hung the SoC. Let the core hold that clock itself, with
 * its own three, so it is back on before any register access.
 */
&usb {
	clocks = <&cmu_hsi0 CLK_GOUT_HSI0_USB_LINK>,
		 <&cmu_hsi0 CLK_MOUT_HSI0_USB20_REF>,
		 <&cmu_hsi0 CLK_GOUT_HSI0_USB_SUSPEND>,
		 <&cmu_hsi0 CLK_GOUT_HSI0_USB_SUBCTL>;
	clock-names = "bus_early", "ref", "suspend", "subctl";
};

/*
 * The Power key wakes the phone from s2idle: gpio-keys arms its EINT for wake
 * only with wakeup-source (2026-10-26: asleep with the key pressed, the key's
 * interrupt stayed at 0 and only the RTC alarm woke it).
 */
&{/gpio-keys/key-power} {
	wakeup-source;
};

/*
 * FAR_ALIVE GPIO provider (FAR-ALIVE-PLAN gate "GPIO provider"): GPA5
 * carries the modem's PS_HOLD, CP-to-AP wake and PHONE_ACTIVE (pins 0-2),
 * WLAN and Bluetooth host wake (3, 6) and the GNSS request (4). ABL leaves
 * the APM gate on (clk_summary, 2026-10-27). FA1 bound the provider
 * alone; FA2 adds the bank's EINTs. No pin states or consumers yet.
 */
&pinctrl_far_alive {
	pinctrl-names = "default";
	pinctrl-0 = <&cp2ap_float>, <&cp2ap_wakeup_up>;
	status = "okay";

	/*
	 * ABL leaves GPA5 pulled down, which hid the modem's cp2ap lines
	 * (MODEM-PLAN M2.1, 2026-10-27): ps-hold and phone-active float as in
	 * stock, cp2ap-wakeup is pulled up as cheetah's ABL leaves it.
	 */
	cp2ap_float: cp2ap-float-pins {
		samsung,pins = "gpa5-0", "gpa5-2";
		samsung,pin-pud = <0>;
	};

	cp2ap_wakeup_up: cp2ap-wakeup-up-pins {
		samsung,pins = "gpa5-1";
		samsung,pin-pud = <3>;
	};
};

/* PCIe channel 0 (the modem link), stock's states; selected by its driver */
&pinctrl_hsi1 {
	pcie0_clkreq: pcie0-clkreq-pins {
		samsung,pins = "gph0-1";
		samsung,pin-function = <2>;
		samsung,pin-pud = <3>;
		samsung,pin-drv = <3>;
		samsung,pin-con-pdn = <3>;
		samsung,pin-pud-pdn = <3>;
	};

	pcie0_perst: pcie0-perst-pins {
		samsung,pins = "gph0-0";
		samsung,pin-function = <1>;
		samsung,pin-drv = <3>;
		samsung,pin-con-pdn = <3>;
	};
};

/* EINT50..57 = GIC SPI 60..67 (Google's zumapro.h); no consumer yet */
&gpa5 {
	interrupt-controller;
	#interrupt-cells = <2>;
	interrupts = <GIC_SPI 60 IRQ_TYPE_LEVEL_HIGH>,
		     <GIC_SPI 61 IRQ_TYPE_LEVEL_HIGH>,
		     <GIC_SPI 62 IRQ_TYPE_LEVEL_HIGH>,
		     <GIC_SPI 63 IRQ_TYPE_LEVEL_HIGH>,
		     <GIC_SPI 64 IRQ_TYPE_LEVEL_HIGH>,
		     <GIC_SPI 65 IRQ_TYPE_LEVEL_HIGH>,
		     <GIC_SPI 66 IRQ_TYPE_LEVEL_HIGH>,
		     <GIC_SPI 67 IRQ_TYPE_LEVEL_HIGH>;
};

/*
 * GNSS (MODEM-PLAN F5, K5, K6): the Kepler core inside the S5300 talks to
 * the AP over HSI0 USI3's SPI (stock's spi_21 and gnss@0, 3.125 MHz) with a
 * request/ready handshake: gnss2ap on gpa5-4 (its EINT), ap2gnss on
 * gpp2-3. Bound by gnss_spi and gnssif (ported from Google's gnssif_spi),
 * which nothing loads yet; the CP must be ONLINE before gnssd talks to it.
 */
&usi3_hsi0 {
	status = "okay";
};

&spi21 {
	status = "okay";

	gnss@0 {
		compatible = "samsung,gnss-spi";
		reg = <0>;
		spi-max-frequency = <3125000>;

		/*
		 * With stock's delay 0, about half the bytes from Kepler came
		 * one bit late ("68 43" read as "34 21", G2 2026-10-27): its
		 * data changes on our sampling edge. Sample half a clock later.
		 */
		controller-data {
			samsung,spi-feedback-delay = <2>;
		};
	};
};

/ {
	gnssif {
		compatible = "samsung,exynos-gnss";
		device,name = "KEPLER";
		device_node_name = "gnss_ipc";
		gnss2ap-spi-gpios = <&gpa5 4 GPIO_ACTIVE_HIGH>;
		ap2gnss-spi-gpios = <&gpp2 3 GPIO_ACTIVE_HIGH>;
	};
};

/*
 * Bluetooth HOST_WAKE on GPA5 pin 6 (stock's goog,nitrous host-wakeup-gpios,
 * active high), available since FAR_ALIVE is bound: hci_bcm takes it as its
 * "host-wakeup" interrupt, which turns on its runtime PM (sleep mode with
 * device-wakeup on gpn9-0) and lets the controller wake the AP.
 */
&bluetooth {
	interrupt-parent = <&gpa5>;
	interrupts = <6 IRQ_TYPE_EDGE_RISING>;
	interrupt-names = "host-wakeup";
};

/* The GPU as a cooling device for gpu-thermal's cooling map */
&gpu {
	#cooling-cells = <2>;
};

/*
 * Fingerprint sensor (Goodix under-display, FINGERPRINT-PLAN F6): the lines
 * the AP drives, as Google's GPL zumapro-tegu-udfps.dtsi: the event line on
 * gpa7-6 and the reset on gpp1-0 (active low; the touchscreen's reset is
 * gpp1-1 in the same bank). The sensor's SPI belongs to the secure world,
 * and its 3.3 V (S2MPG15 LDO15S) stays on from the bootloader, so the node
 * has no bus and no supply. The driver (goodix-fp) is not installed where
 * it could autoload: it is loaded by hand for F6b.
 */
&pinctrl_alive {
	fp_irq: fp-irq-pins {
		samsung,pins = "gpa7-6";
		samsung,pin-function = <EXYNOS_PIN_FUNC_EINT>;
	};
};

&pinctrl_peric0 {
	fp_rst: fp-rst-pins {
		samsung,pins = "gpp1-0";
		samsung,pin-function = <EXYNOS_PIN_FUNC_OUTPUT>;
		samsung,pin-pud = <EXYNOS_PIN_PULL_NONE>;
		samsung,pin-con-pdn = <EXYNOS_PIN_PDN_PREV>;
		samsung,pin-pud-pdn = <EXYNOS_PIN_PULL_NONE>;
	};
};

/ {
	fingerprint {
		compatible = "goodix,g7-udfps";
		interrupt-parent = <&gpa7>;
		interrupts = <6 IRQ_TYPE_EDGE_RISING>;
		reset-gpios = <&gpp1 0 GPIO_ACTIVE_LOW>;
		pinctrl-0 = <&fp_irq &fp_rst>;
		pinctrl-names = "default";
	};
};

/* The SoC thermal sensors, read through ACPM (gs101_acpm_tmu, zumapro). */
&acpm_ipc {
	tegu_tmu: thermal-sensor {
		compatible = "google,zumapro-acpm-tmu";
		#thermal-sensor-cells = <1>;
	};
};

/*
 * USB-C: the MAX77779 TCPC (maxim,max77779-tcpc, tcpci_maxim) at 0x25 on the
 * gauge bus, interrupt gpa8-3 active low (stock overlay max77759tcpc@25).
 * Sink only, no link to dwc3 yet: the USB role stays as it is (USB-PLAN).
 */
&pinctrl_alive {
	usb_pd_irq: usb-pd-irq-pins {
		samsung,pins = "gpa8-3";
		samsung,pin-function = <EXYNOS_PIN_FUNC_EINT>;
		samsung,pin-pud = <EXYNOS_PIN_PULL_UP>;
		samsung,pin-drv = <0>;
	};
};

&hsi2c6 {
	usb_tcpc: tcpc@25 {
		compatible = "maxim,max77779-tcpc";
		reg = <0x25>;
		interrupt-parent = <&gpa8>;
		interrupts = <3 IRQ_TYPE_LEVEL_LOW>;
		pinctrl-names = "default";
		pinctrl-0 = <&usb_pd_irq>;

		connector {
			compatible = "usb-c-connector";
			label = "USB-C";
			data-role = "dual";
			power-role = "sink";
			self-powered;
			op-sink-microwatt = <2600000>;
			sink-pdos = <PDO_FIXED(5000, 3000, PDO_FIXED_USB_COMM)>;
		};
	};
};

/*
 * USB host mode trial (ot1): the core becomes dual-role and exposes a role
 * switch, starting as a peripheral as before. Nothing switches it yet: the
 * role is set by hand (/sys/class/usb_role) until the TCPC is linked.
 */
&usb {
	dr_mode = "otg";
	usb-role-switch;
	role-switch-default-mode = "peripheral";
};

/*
 * USI10 as I2C (ot1): the bus of the RT9471, whose boost makes the USB-C
 * port VBUS in host mode (Google: hsi2c_10, rt-swchg@5b; SPI 658, pins
 * gpp20-0/1 function 2, sysreg PERIC1 offset 0x8). Bus only, no client yet.
 */
&pinctrl_peric1 {
	hsi2c10_bus: hsi2c10-bus-pins {
		samsung,pins = "gpp20-0", "gpp20-1";
		samsung,pin-function = <EXYNOS_PIN_FUNC_2>;
		samsung,pin-pud = <EXYNOS_PIN_PULL_NONE>;
		samsung,pin-drv = <0>;
	};
};

&{/soc} {
	usi10: usi@10ca00c0 {
		compatible = "google,zumapro-usi", "samsung,exynos850-usi";
		reg = <0x0 0x10ca00c0 0x20>;
		clocks = <&cmu_peric1 CLK_GOUT_PERIC1_USI10_PCLK>,
			 <&cmu_peric1 CLK_GOUT_PERIC1_USI10_IPCLK>;
		clock-names = "pclk", "ipclk";
		samsung,sysreg = <&sysreg_peric1 0x8>;
		samsung,mode = <USI_MODE_I2C>;
		#address-cells = <1>;
		#size-cells = <1>;
		ranges = <0x10ca0000 0x0 0x10ca0000 0x1000>;

		hsi2c10: i2c@10ca0000 {
			compatible = "google,zumapro-hsi2c",
				     "samsung,exynosautov9-hsi2c";
			reg = <0x10ca0000 0xc0>;
			interrupts = <GIC_SPI 658 IRQ_TYPE_LEVEL_HIGH>;
			clocks = <&cmu_peric1 CLK_GOUT_PERIC1_USI10_IPCLK>,
				 <&cmu_peric1 CLK_GOUT_PERIC1_USI10_PCLK>;
			clock-names = "hsi2c", "hsi2c_pclk";
			pinctrl-names = "default";
			pinctrl-0 = <&hsi2c10_bus>;
			clock-frequency = <400000>;
			#address-cells = <1>;
			#size-cells = <0>;
		};
	};
};

/*
 * Fingerprint (fp2): the sensor's 3.3 V, S2MPG15 LDO15S, always on as on
 * stock (GPL zumapro-tegu-udfps.dtsi). Off at hand-off, as on cheetah: the
 * trusted app read chip id 0 until it is on. Its voltage is left as found.
 */
&pmic_sub {
	regulators {
		udfps_3v3: ldo15s {
			regulator-name = "udfps-3v3";
			regulator-always-on;
		};
	};
};

/* nf2: the PMU provides the NFC controller's clock pad (clock 0) */
&pmu_system_controller {
	#clock-cells = <1>;
};

/*
 * gn2: the GNSS rails, on as stock turns them on (regulator-initial-mode 0,
 * which Google's s2mpg15 driver maps to on): off at hand-off, and the
 * Kepler GNSS core's RF front end can't calibrate without them.
 */
&pmic_sub {
	regulators {
		gnss_core: ldo9s {
			regulator-name = "gnss-core";
			regulator-always-on;
		};

		gnss_rf: ldo10s {
			regulator-name = "gnss-rf";
			regulator-always-on;
		};

		gnss_aux: ldo11s {
			regulator-name = "gnss-aux";
			regulator-always-on;
		};
	};
};

/*
 * ps1: pstore on the region stock uses for it (zumapro-rmem.dtsi
 * ramoops_mem@fd3ff000), so a hang or panic leaves its console behind.
 */
&ramoops_reserved {
	compatible = "ramoops";
	console-size = <0x200000>;
	pmsg-size = <0x100000>;
	record-size = <0x40000>;
};

/*
 * gt1 (kernel #119 in board form): the MAX77779 bus and fuel gauge enabled
 * in the DT itself, as #119 has them, instead of at runtime.
 */
&usi6 {
	status = "okay";
};

&hsi2c6 {
	status = "okay";
};

&fuel_gauge {
	status = "okay";
};

/*
 * bt2 (kernel #122 in board form): the APM UART and the Bluetooth node
 * enabled in the DT itself, instead of at runtime.
 */
&usi_apm1 {
	status = "okay";
};

&uart18 {
	status = "okay";
};

&bluetooth {
	status = "okay";
};


/*
 * USB-C host mode (ot6, the ot2 fragment): the RT9471's OTG boost on hsi2c10, the MAX77779
 * charger's chgin-otg regulator on top of it (charger to standby, then the
 * boost, as Google's ext-otg-only use case), the TCPC sourcing VBUS from
 * it as a dual-role port that prefers sink, and the port's data role
 * driving the dwc3 role switch. Source PDO from stock (fixed 5 V, 900 mA).
 */
&hsi2c10 {
	otg_boost: regulator@5b {
		compatible = "omamobile,tegu-rt9471-boost";
		reg = <0x5b>;
		regulator-name = "otg-boost";
	};
};

&hsi2c6 {
	charger@69 {
		compatible = "maxim,max77779-charger";
		reg = <0x69>;
		otg-boost-supply = <&otg_boost>;

		chgin_otg: chgin-otg-regulator {
			regulator-name = "chgin-otg";
		};
	};
};

&usb_tcpc {
	vbus-supply = <&chgin_otg>;

	connector {
		power-role = "dual";
		try-power-role = "sink";
		source-pdos = <PDO_FIXED(5000, 900, PDO_FIXED_USB_COMM | PDO_FIXED_DATA_SWAP)>;

		port {
			typec_hs: endpoint {
				remote-endpoint = <&usb_hs>;
			};
		};
	};
};

&usb {
	port {
		usb_hs: endpoint {
			remote-endpoint = <&typec_hs>;
		};
	};
};

/* gn3 (DTB only): tell the AoC firmware the GNSS is Samsung integrated (kAOCGnssType 2), as Google GPL zumapro-phone-ignss.dtsi */
&aoc {
	gnss-type = <2>;
};
